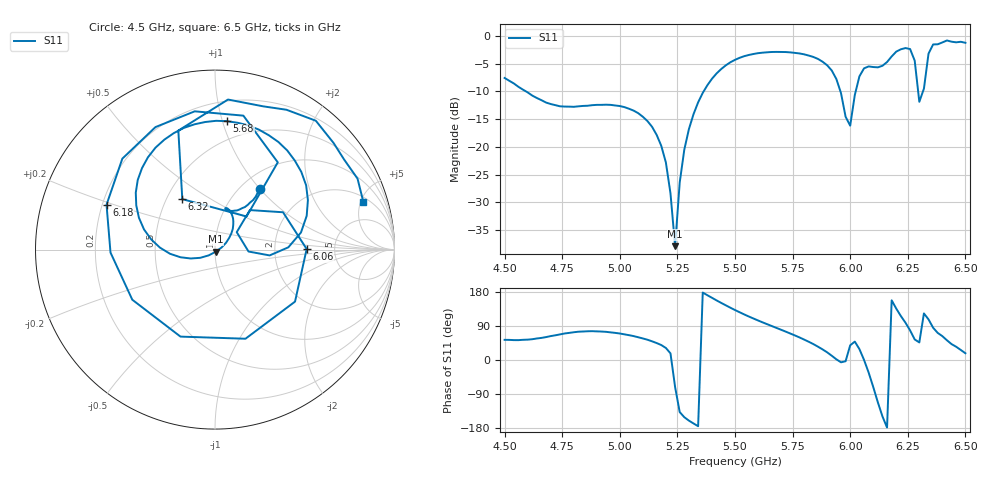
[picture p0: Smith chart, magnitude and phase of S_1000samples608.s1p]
! TOUCHSTONE file generated by CST MICROWAVE STUDIO
! Date and time: Fri Oct 28 18:21:14 2022
! Project name: L.cst
! Parameters = {Di=1.27; Epsilon_r=1.56; InnerDiameter=1.27; Length=2; Lf=10; Lg=60; OuterConductorThickness=0.2921; OuterDiameter=3.6; Wf=3; Wp=41.2; de=1.5; df=6.8; g=0.8; gx=1.26505; gy=1.69426; h=2.34; hf=1.524; px=13.0665; py=13.0961; w=9.7; wx=11.8015; wy=11.4019}
! Header version: 2018
! Port assignment regex: !\s*Touchstone port\s*([0-9]+)\s*=\s*(CST MWS port|CST DS port)\s*([0-9]+|Zmin|Zmax)\s*\(\"(.*)\"\)(\s*mode\s*([0-9]+))?.*
! Touchstone port assignment:
! Touchstone port 1 = CST MWS port 1 ("")
# GHz S DB R 50
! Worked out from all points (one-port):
!   101 points, 4.5 GHz to 6.5 GHz, reference 50 ohm
!   lowest |S11| = -37.9 dB at 5.24 GHz (marker M1), VSWR 1.03, Z = 50.4 - j1.21 ohm
!   |S11| at or under -10 dB: 4.593 GHz to 5.364 GHz (770.9 MHz wide, 15.5 % of centre); 5.958 GHz to 6.024 GHz (66.09 MHz wide, 1.1 % of centre); 6.29495 GHz to 6.315789 GHz (20.84 MHz wide, 0.33 % of centre)
!   S11 on the Smith chart (normalised r, x): 4.5 GHz: 1.22, +0.99; 5.68 GHz: 0.35, +1.04; 6.06 GHz: 3.09, +0.03; 6.18 GHz: 0.22, +0.19; 6.32 GHz: 0.60, +0.38; 6.5 GHz: 2.45, +5.28
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4.5  -7.57 53.2
4.76  -12.73 69.9
5  -12.64 69.9
5.18  -19.82 39.5
5.22  -28.40 17.4
5.24  -37.92 -71.3
5.26  -26.44 -137.4
5.34  -11.97 -174.8
5.5  -4.30 131.8
5.68  -2.87 84.6
5.76  -3.05 64.8
5.9  -5.28 20.2
5.96  -10.29 -6.1
6  -16.18 38.8
6.04  -7.28 28.8
6.06  -5.84 0.4
6.1  -5.60 -71.1
6.12  -5.65 -111.6
6.18  -3.69 157.5
6.22  -2.40 115.9
6.26  -2.35 78.0
6.28  -4.45 54.3
6.3  -11.87 46.4
6.32  -9.50 122.9
6.34  -3.18 107.1
6.36  -1.52 85.0
6.42  -0.80 52.0
6.5  -1.23 17.8
